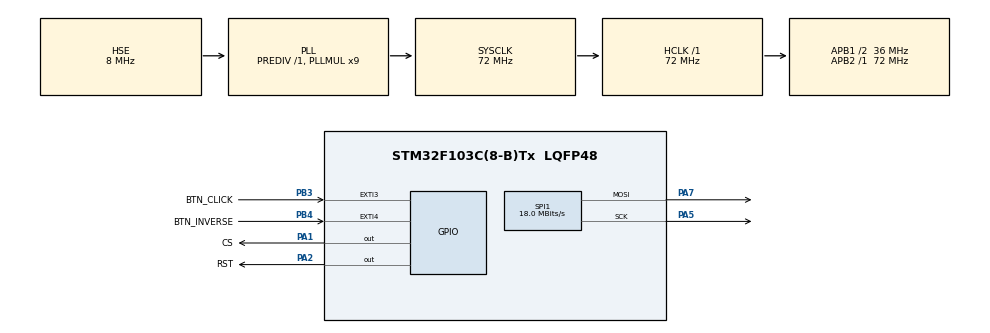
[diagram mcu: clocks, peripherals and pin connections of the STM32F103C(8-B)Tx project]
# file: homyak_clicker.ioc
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Dma.Request0=SPI1_TX
Dma.SPI1_TX.0.Direction=DMA_MEMORY_TO_PERIPH
Dma.SPI1_TX.0.Instance=DMA1_Channel3
Dma.SPI1_TX.0.MemDataAlignment=DMA_MDATAALIGN_BYTE
Dma.SPI1_TX.0.MemInc=DMA_MINC_ENABLE
Dma.SPI1_TX.0.Mode=DMA_NORMAL
Dma.SPI1_TX.0.PeriphDataAlignment=DMA_PDATAALIGN_BYTE
Dma.SPI1_TX.0.PeriphInc=DMA_PINC_DISABLE
Dma.SPI1_TX.0.Priority=DMA_PRIORITY_LOW
Mcu.Family=STM32F1
Mcu.Name=STM32F103C(8-B)Tx
Mcu.Package=LQFP48
NVIC.DMA1_Channel3_IRQn=true\:0\:0\:false\:false\:true\:false\:true\:true
NVIC.EXTI3_IRQn=true\:0\:0\:false\:false\:true\:true\:true\:true
NVIC.EXTI4_IRQn=true\:0\:0\:false\:false\:true\:true\:true\:true
NVIC.PriorityGroup=NVIC_PRIORITYGROUP_4
NVIC.SPI1_IRQn=true\:0\:0\:false\:false\:true\:true\:true\:true
NVIC.TIM1_BRK_IRQn=true\:0\:0\:false\:false\:true\:true\:true\:true
NVIC.TIM1_CC_IRQn=true\:0\:0\:false\:false\:true\:true\:true\:true
NVIC.TIM1_TRG_COM_IRQn=true\:0\:0\:false\:false\:true\:true\:true\:true
NVIC.TIM1_UP_IRQn=true\:0\:0\:false\:false\:true\:true\:true\:true
NVIC.TIM2_IRQn=true\:0\:0\:false\:false\:true\:true\:true\:true
PA1.GPIO_Label=CS
PA1.Signal=GPIO_Output
PA2.GPIO_Label=RST
PA2.Signal=GPIO_Output
PA5.Mode=TX_Only_Simplex_Unidirect_Master
PA5.Signal=SPI1_SCK
PA7.Mode=TX_Only_Simplex_Unidirect_Master
PA7.Signal=SPI1_MOSI
PB3.GPIO_Label=BTN_CLICK
PB3.GPIO_ModeDefaultEXTI=GPIO_MODE_IT_RISING
PB3.GPIO_PuPd=GPIO_PULLUP
PB3.Signal=GPXTI3
PB4.GPIO_Label=BTN_INVERSE
PB4.GPIO_ModeDefaultEXTI=GPIO_MODE_IT_RISING
PB4.GPIO_PuPd=GPIO_PULLUP
PB4.Signal=GPXTI4
PD0-OSC_IN.Mode=HSE-External-Oscillator
PD0-OSC_IN.Signal=RCC_OSC_IN
PD1-OSC_OUT.Mode=HSE-External-Oscillator
PD1-OSC_OUT.Signal=RCC_OSC_OUT
ProjectManager.HeapSize=0x200
ProjectManager.StackSize=0x400
ProjectManager.TargetToolchain=STM32CubeIDE
RCC.AHBFreq_Value=72000000
RCC.APB1CLKDivider=RCC_HCLK_DIV2
RCC.APB1Freq_Value=36000000
RCC.APB1TimFreq_Value=72000000
RCC.APB2Freq_Value=72000000
RCC.APB2TimFreq_Value=72000000
RCC.HCLKFreq_Value=72000000
RCC.PLLMUL=RCC_PLL_MUL9
RCC.PLLSourceVirtual=RCC_PLLSOURCE_HSE
RCC.SYSCLKFreq_VALUE=72000000
RCC.SYSCLKSource=RCC_SYSCLKSOURCE_PLLCLK
RCC.USBFreq_Value=72000000
SPI1.BaudRatePrescaler=SPI_BAUDRATEPRESCALER_4
SPI1.CLKPhase=SPI_PHASE_2EDGE
SPI1.CLKPolarity=SPI_POLARITY_HIGH
SPI1.CalculateBaudRate=18.0 MBits/s
SPI1.Direction=SPI_DIRECTION_2LINES
SPI1.Mode=SPI_MODE_MASTER
SPI1.VirtualType=VM_MASTER
TIM1.Period=50
TIM1.Prescaler=32000
TIM2.Period=50
TIM2.Prescaler=32000
VP_SYS_VS_ND.Mode=No_Debug
VP_TIM1_VS_ClockSourceINT.Mode=Internal
VP_TIM2_VS_ClockSourceINT.Mode=Internal
board=custom

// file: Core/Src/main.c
/* USER CODE BEGIN Header */
/**
  ******************************************************************************
  * @file           : main.c
  * @brief          : Main program body
  ******************************************************************************
  * @attention
  *
  * Copyright (c) 2024 STMicroelectronics.
  * All rights reserved.
  *
  * This software is licensed under terms that can be found in the LICENSE file
  * in the root directory of this software component.
  * If no LICENSE file comes with this software, it is provided AS-IS.
  *
  ******************************************************************************
  */
/* USER CODE END Header */
#include "main.h"

/* USER CODE BEGIN Includes */

#include "ST7920_lib.h"
#include "hamster.h"
#include "logo.h"

extern char tx_buffer[128];
extern uint8_t Frame_buffer[1024];

/* USER CODE END Includes */

SPI_HandleTypeDef hspi1;
DMA_HandleTypeDef hdma_spi1_tx;

TIM_HandleTypeDef htim1;
TIM_HandleTypeDef htim2;

/* USER CODE BEGIN PV */

uint16_t coins = 0;
uint32_t ticks = 0;

bool dark_theme = false;
bool finished_logo = false;

bool btn0_state = true;
bool btn1_state = true;

/* USER CODE END PV */

void SystemClock_Config(void);
static void MX_GPIO_Init(void);
static void MX_DMA_Init(void);
static void MX_SPI1_Init(void);
static void MX_TIM1_Init(void);
static void MX_TIM2_Init(void);

int main(void)
{

  /* MCU Configuration--------------------------------------------------------*/

  /* Reset of all peripherals, Initializes the Flash interface and the Systick. */
  HAL_Init();

  /* Configure the system clock */
  SystemClock_Config();

  /* Initialize all configured peripherals */
  MX_GPIO_Init();
  MX_DMA_Init();
  MX_SPI1_Init();
  MX_TIM1_Init();
  MX_TIM2_Init();
  /* USER CODE BEGIN 2 */

  HAL_Delay(100);
  ST7920_Init();
  ST7920_Graphic_mode(1);

  draw_logo();

  finished_logo = true;

  /* USER CODE END 2 */

  /* Infinite loop */
  /* USER CODE BEGIN WHILE */
  while (1)
  {

	  //Update the screen every 17 ms ( about 60 times per second)
	  if (HAL_GetTick() - ticks > 17) {
		  ticks = HAL_GetTick();

		  //Draw a regular or inverse version of the hamster
		  for (int i = 0; i < 1024; i++) {
			Frame_buffer[i] = dark_theme ? ~hamster[i] :  hamster[i];
		  }

		  sprintf(tx_buffer, "Хамстер коины:");
		  ST7920_Decode_UTF8(45, 2, dark_theme ? 0 : 1, tx_buffer);

		  //Print coin count
		  sprintf(tx_buffer, "%8d", coins);
		  ST7920_Decode_UTF8(42, 4, dark_theme ? 0 : 1, tx_buffer);

		  ST7920_Update();
	  }
    /* USER CODE END WHILE */

  }
}

void SystemClock_Config(void)
{
  RCC_OscInitTypeDef RCC_OscInitStruct = {0};
  RCC_ClkInitTypeDef RCC_ClkInitStruct = {0};

  /** Initializes the RCC Oscillators according to the specified parameters
  * in the RCC_OscInitTypeDef structure.
  */
  RCC_OscInitStruct.OscillatorType = RCC_OSCILLATORTYPE_HSE;
  RCC_OscInitStruct.HSEState = RCC_HSE_ON;
  RCC_OscInitStruct.HSEPredivValue = RCC_HSE_PREDIV_DIV1;
  RCC_OscInitStruct.HSIState = RCC_HSI_ON;
  RCC_OscInitStruct.PLL.PLLState = RCC_PLL_ON;
  RCC_OscInitStruct.PLL.PLLSource = RCC_PLLSOURCE_HSE;
  RCC_OscInitStruct.PLL.PLLMUL = RCC_PLL_MUL9;
  if (HAL_RCC_OscConfig(&RCC_OscInitStruct) != HAL_OK)
  {
    Error_Handler();
  }

  /** Initializes the CPU, AHB and APB buses clocks
  */
  RCC_ClkInitStruct.ClockType = RCC_CLOCKTYPE_HCLK|RCC_CLOCKTYPE_SYSCLK
                              |RCC_CLOCKTYPE_PCLK1|RCC_CLOCKTYPE_PCLK2;
  RCC_ClkInitStruct.SYSCLKSource = RCC_SYSCLKSOURCE_PLLCLK;
  RCC_ClkInitStruct.AHBCLKDivider = RCC_SYSCLK_DIV1;
  RCC_ClkInitStruct.APB1CLKDivider = RCC_HCLK_DIV2;
  RCC_ClkInitStruct.APB2CLKDivider = RCC_HCLK_DIV1;

  if (HAL_RCC_ClockConfig(&RCC_ClkInitStruct, FLASH_LATENCY_2) != HAL_OK)
  {
    Error_Handler();
  }
}

static void MX_SPI1_Init(void)
{

  /* SPI1 parameter configuration*/
  hspi1.Instance = SPI1;
  hspi1.Init.Mode = SPI_MODE_MASTER;
  hspi1.Init.Direction = SPI_DIRECTION_2LINES;
  hspi1.Init.DataSize = SPI_DATASIZE_8BIT;
  hspi1.Init.CLKPolarity = SPI_POLARITY_HIGH;
  hspi1.Init.CLKPhase = SPI_PHASE_2EDGE;
  hspi1.Init.NSS = SPI_NSS_SOFT;
  hspi1.Init.BaudRatePrescaler = SPI_BAUDRATEPRESCALER_4;
  hspi1.Init.FirstBit = SPI_FIRSTBIT_MSB;
  hspi1.Init.TIMode = SPI_TIMODE_DISABLE;
  hspi1.Init.CRCCalculation = SPI_CRCCALCULATION_DISABLE;
  hspi1.Init.CRCPolynomial = 10;
  if (HAL_SPI_Init(&hspi1) != HAL_OK)
  {
    Error_Handler();
  }

}

static void MX_TIM1_Init(void)
{

  TIM_ClockConfigTypeDef sClockSourceConfig = {0};
  TIM_MasterConfigTypeDef sMasterConfig = {0};

  htim1.Instance = TIM1;
  htim1.Init.Prescaler = 32000;
  htim1.Init.CounterMode = TIM_COUNTERMODE_UP;
  htim1.Init.Period = 50;
  htim1.Init.ClockDivision = TIM_CLOCKDIVISION_DIV1;
  htim1.Init.RepetitionCounter = 0;
  htim1.Init.AutoReloadPreload = TIM_AUTORELOAD_PRELOAD_DISABLE;
  if (HAL_TIM_Base_Init(&htim1) != HAL_OK)
  {
    Error_Handler();
  }
  sClockSourceConfig.ClockSource = TIM_CLOCKSOURCE_INTERNAL;
  if (HAL_TIM_ConfigClockSource(&htim1, &sClockSourceConfig) != HAL_OK)
  {
    Error_Handler();
  }
  sMasterConfig.MasterOutputTrigger = TIM_TRGO_RESET;
  sMasterConfig.MasterSlaveMode = TIM_MASTERSLAVEMODE_DISABLE;
  if (HAL_TIMEx_MasterConfigSynchronization(&htim1, &sMasterConfig) != HAL_OK)
  {
    Error_Handler();
  }

}

static void MX_TIM2_Init(void)
{

  TIM_ClockConfigTypeDef sClockSourceConfig = {0};
  TIM_MasterConfigTypeDef sMasterConfig = {0};

  htim2.Instance = TIM2;
  htim2.Init.Prescaler = 32000;
  htim2.Init.CounterMode = TIM_COUNTERMODE_UP;
  htim2.Init.Period = 50;
  htim2.Init.ClockDivision = TIM_CLOCKDIVISION_DIV1;
  htim2.Init.AutoReloadPreload = TIM_AUTORELOAD_PRELOAD_DISABLE;
  if (HAL_TIM_Base_Init(&htim2) != HAL_OK)
  {
    Error_Handler();
  }
  sClockSourceConfig.ClockSource = TIM_CLOCKSOURCE_INTERNAL;
  if (HAL_TIM_ConfigClockSource(&htim2, &sClockSourceConfig) != HAL_OK)
  {
    Error_Handler();
  }
  sMasterConfig.MasterOutputTrigger = TIM_TRGO_RESET;
  sMasterConfig.MasterSlaveMode = TIM_MASTERSLAVEMODE_DISABLE;
  if (HAL_TIMEx_MasterConfigSynchronization(&htim2, &sMasterConfig) != HAL_OK)
  {
    Error_Handler();
  }

}

static void MX_DMA_Init(void)
{

  /* DMA controller clock enable */
  __HAL_RCC_DMA1_CLK_ENABLE();

  /* DMA interrupt init */
  /* DMA1_Channel3_IRQn interrupt configuration */
  HAL_NVIC_SetPriority(DMA1_Channel3_IRQn, 0, 0);
  HAL_NVIC_EnableIRQ(DMA1_Channel3_IRQn);

}

static void MX_GPIO_Init(void)
{
  GPIO_InitTypeDef GPIO_InitStruct = {0};

  /* GPIO Ports Clock Enable */
  __HAL_RCC_GPIOD_CLK_ENABLE();
  __HAL_RCC_GPIOA_CLK_ENABLE();
  __HAL_RCC_GPIOB_CLK_ENABLE();

  /*Configure GPIO pin Output Level */
  HAL_GPIO_WritePin(GPIOA, CS_Pin|RST_Pin, GPIO_PIN_RESET);

  /*Configure GPIO pins : CS_Pin RST_Pin */
  GPIO_InitStruct.Pin = CS_Pin|RST_Pin;
  GPIO_InitStruct.Mode = GPIO_MODE_OUTPUT_PP;
  GPIO_InitStruct.Pull = GPIO_NOPULL;
  GPIO_InitStruct.Speed = GPIO_SPEED_FREQ_LOW;
  HAL_GPIO_Init(GPIOA, &GPIO_InitStruct);

  /*Configure GPIO pins : BTN_CLICK_Pin BTN_INVERSE_Pin */
  GPIO_InitStruct.Pin = BTN_CLICK_Pin|BTN_INVERSE_Pin;
  GPIO_InitStruct.Mode = GPIO_MODE_IT_RISING;
  GPIO_InitStruct.Pull = GPIO_PULLUP;
  HAL_GPIO_Init(GPIOB, &GPIO_InitStruct);

  /* EXTI interrupt init*/
  HAL_NVIC_SetPriority(EXTI3_IRQn, 0, 0);
  HAL_NVIC_EnableIRQ(EXTI3_IRQn);

  HAL_NVIC_SetPriority(EXTI4_IRQn, 0, 0);
  HAL_NVIC_EnableIRQ(EXTI4_IRQn);

}

/* USER CODE BEGIN 4 */

void HAL_GPIO_EXTI_Callback(uint16_t GPIO_Pin)
{
	if (!finished_logo) {
		return;
	}

	if (GPIO_Pin == BTN_CLICK_Pin && btn0_state) {
		btn0_state = false;

		HAL_TIM_Base_Start_IT(&htim1);
	} else if (GPIO_Pin == BTN_INVERSE_Pin && btn1_state) {
		btn1_state = false;

		HAL_TIM_Base_Start_IT(&htim2);
	} else {
		__NOP();
	}
}

void HAL_TIM_PeriodElapsedCallback(TIM_HandleTypeDef *htim)
{
	if (htim == &htim1) {
		if (HAL_GPIO_ReadPin(BTN_CLICK_GPIO_Port, BTN_CLICK_Pin) == GPIO_PIN_SET) {
			coins++;
		}

		btn0_state = true;
		HAL_TIM_Base_Stop_IT(&htim1);
	} else if (htim == &htim2) {
		if (HAL_GPIO_ReadPin(BTN_INVERSE_GPIO_Port, BTN_INVERSE_Pin) == GPIO_PIN_SET) {
			dark_theme = !dark_theme;
		}

		btn1_state = true;
		HAL_TIM_Base_Stop_IT(&htim2);
	}
}

/* USER CODE END 4 */

void Error_Handler(void)
{
  __disable_irq();
  while (1)
  {
  }
}
